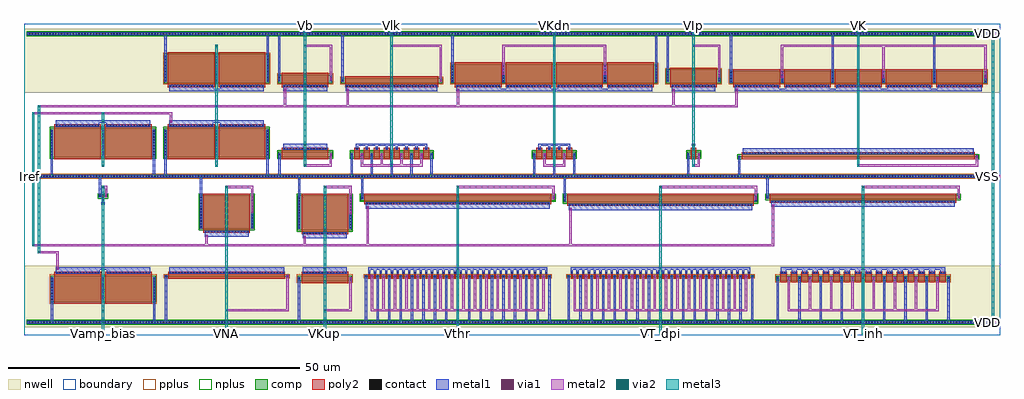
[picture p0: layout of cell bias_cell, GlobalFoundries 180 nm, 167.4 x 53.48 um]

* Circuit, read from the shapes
.subckt bias_cell Iref VDD VIp VK VKdn VKup VNA VSS VT_dpi VT_inh Vamp_bias Vb Vlk Vthr
XM1 Iref Iref VSS VSS nfet_03v3 w=5u l=8u m=2
XM2 Vamp_bias Vamp_bias VSS VSS nfet_03v3 w=0.22u l=0.28u
XM3 n1 Iref VSS VSS nfet_03v3 w=5u l=8u m=2
XM4 VNA Iref VSS VSS nfet_03v3 w=5.755u l=8u
XM5 Vb Vb VSS VSS nfet_03v3 w=1u l=8u
XM6 VKup Iref VSS VSS nfet_03v3 w=6.005u l=8u
XM7 Vlk Vlk VSS VSS nfet_03v3 w=1u l=1u m=8
XM8 Vthr Iref VSS VSS nfet_03v3 w=0.905u l=32u
XM9 VKdn VKdn VSS VSS nfet_03v3 w=1u l=1u m=4
XM10 VT_dpi Iref VSS VSS nfet_03v3 w=1.165u l=32u
XM11 VIp VIp VSS VSS nfet_03v3 w=1u l=1u
XM12 VK VK VSS VSS nfet_03v3 w=0.22u l=40u
XM13 VT_inh Iref VSS VSS nfet_03v3 w=0.625u l=32u
XM14 Vamp_bias n1 VDD VDD pfet_03v3 w=4.57u l=8u m=2
XM15 n1 n1 VDD VDD pfet_03v3 w=5u l=8u m=2
XM16 VNA VNA VDD VDD pfet_03v3 w=0.22u l=20u
XM17 Vb n1 VDD VDD pfet_03v3 w=1.435u l=8u
XM18 VKup VKup VDD VDD pfet_03v3 w=1u l=8u
XM19 Vlk n1 VDD VDD pfet_03v3 w=0.84u l=16u
XM20 Vthr Vthr VDD VDD pfet_03v3 w=0.22u l=0.28u m=32
XM21 VKdn n1 VDD VDD pfet_03v3 w=3.235u l=8u m=4
XM22 VT_dpi VT_dpi VDD VDD pfet_03v3 w=0.22u l=0.28u m=32
XM23 VIp n1 VDD VDD pfet_03v3 w=2.335u l=8u
XM24 VK n1 VDD VDD pfet_03v3 w=2.09u l=8u m=5
XM25 VT_inh VT_inh VDD VDD pfet_03v3 w=0.88u l=1.12u m=16
.ends

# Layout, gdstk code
import gdstk
lib = gdstk.Library(unit=1e-6, precision=1e-09)
def R(c, l, rs):  # rectangles x0, y0, x1, y1
    for r in rs: c.add(gdstk.rectangle(r[:2], r[2:], *l))
def A(c, l, x, y, w, h, nx, ny, dx, dy):  # array of equal rectangles
    R(c, l, [(x+i*dx, y+j*dy, x+i*dx+w, y+j*dy+h) for i in range(nx) for j in range(ny)])
def P(c, l, *ps):  # polygons
    for p in ps: c.add(gdstk.Polygon(p, *l))
boundary = (0, 0)
nwell = (21, 0)
comp = (22, 0)
poly2 = (30, 0)
pplus = (31, 0)
nplus = (32, 0)
contact = (33, 0)
metal1 = (34, 0)
via1 = (35, 0)
metal2 = (36, 0)
via2 = (38, 0)
metal3 = (42, 0)

bias_cell = lib.new_cell('bias_cell')
R(bias_cell, boundary, [(0,0,167.4,53.475)])
R(bias_cell, nwell, [(0,1.4,167.4,11.95), (0,41.595,167.4,52.575)])
A(bias_cell, comp, 59.51, 9.97, 0.38, 0.38, 31, 1, 0.98, 0)
A(bias_cell, comp, 94.27, 9.97, 0.38, 0.38, 31, 1, 0.98, 0)
R(bias_cell, comp, [(0.6,2,166.8,2.5), (4.57,5.7,22.57,10.27), (46.95,9.27,56.25,10.27), (129.06,9.39,158.78,10.27), (46.99,18.02,56.21,24.025), (30.15,18.27,39.37,24.025), (92.55,22.86,125.77,24.025), (57.79,23.12,91.01,24.025), (127.31,23.4,160.53,24.025), (0.6,27.025,166.8,27.525), (4.57,30.525,22.49,35.525), (24.07,30.525,41.99,35.525), (43.61,30.525,52.83,31.525), (56,30.525,70.12,31.525), (87.29,30.525,94.61,31.525), (113.73,30.525,115.95,31.525), (24.03,43.275,42.03,48.275), (43.57,43.275,52.87,44.71), (54.41,43.275,71.71,44.115), (73.25,43.275,108.65,46.51), (110.19,43.275,119.49,45.61), (121.03,43.275,165.13,45.365), (0.6,51.475,166.8,51.975)])
P(bias_cell, comp, [(122.47,30.465),(122.47,30.845),(122.89,30.845),(122.89,30.765),(163.27,30.765),(163.27,30.845),(163.69,30.845),(163.69,30.465),(163.27,30.465),(163.27,30.545),(122.89,30.545),(122.89,30.465)],
  [(12.82,23.705),(12.82,24.085),(13.24,24.085),(13.24,24.005),(13.9,24.005),(13.9,24.085),(14.32,24.085),(14.32,23.705),(13.9,23.705),(13.9,23.785),(13.24,23.785),(13.24,23.705)],
  [(24.11,9.97),(24.11,10.35),(24.57,10.35),(24.57,10.27),(44.95,10.27),(44.95,10.35),(45.41,10.35),(45.41,9.97),(44.95,9.97),(44.95,10.05),(24.57,10.05),(24.57,9.97)],
  [(58.42,9.97),(58.42,10.35),(58.88,10.35),(58.88,10.27),(89.92,10.27),(89.92,10.35),(90.38,10.35),(90.38,9.97),(89.92,9.97),(89.92,10.05),(58.88,10.05),(58.88,9.97)],
  [(93.18,9.97),(93.18,10.35),(93.64,10.35),(93.64,10.27),(124.68,10.27),(124.68,10.35),(125.14,10.35),(125.14,9.97),(124.68,9.97),(124.68,10.05),(93.64,10.05),(93.64,9.97)])
A(bias_cell, poly2, 129.71, 9.09, 1.12, 1.86, 16, 1, 1.82, 0)
A(bias_cell, poly2, 56.61, 30.225, 1, 1.96, 8, 1, 1.7, 0)
A(bias_cell, poly2, 87.9, 30.225, 1, 1.96, 4, 1, 1.7, 0)
A(bias_cell, poly2, 73.9, 42.595, 8, 4.215, 4, 1, 8.7, 0)
A(bias_cell, poly2, 121.68, 42.595, 8, 3.07, 5, 1, 8.7, 0)
R(bias_cell, poly2, [(5.22,5.4,13.22,10.95), (13.92,5.4,21.92,10.95), (47.6,8.97,55.6,10.95), (24.76,9.75,44.76,10.95), (47.6,17.36,55.6,24.325), (30.76,17.61,38.76,17.97), (30.76,17.97,38.76,24.325), (93.16,22.2,125.16,24.325), (58.4,22.46,90.4,24.325), (127.92,22.74,159.92,24.325), (5.18,30.225,13.18,36.185), (13.88,30.225,21.88,36.185), (24.68,30.225,32.68,36.185), (33.38,30.225,41.38,36.185), (44.22,30.225,52.22,32.185), (114.34,30.225,115.34,32.185), (123.08,30.245,163.08,31.425), (24.68,42.595,32.68,48.575), (33.38,42.595,41.38,48.575), (44.22,42.595,52.22,45.01), (55.06,42.595,71.06,44.415), (110.84,42.595,118.84,45.91)])
P(bias_cell, poly2, [(84.55,9.75),(84.55,10.57),(84.5,10.57),(84.5,10.95),(84.88,10.95),(84.88,10.57),(84.83,10.57),(84.83,9.75)],
  [(13.39,23.125),(13.39,23.485),(13.43,23.485),(13.43,24.305),(13.71,24.305),(13.71,23.485),(13.75,23.485),(13.75,23.125)],
  [(59.07,9.75),(59.07,10.57),(59.02,10.57),(59.02,10.95),(59.4,10.95),(59.4,10.57),(59.35,10.57),(59.35,9.75)],
  [(60.05,9.75),(60.05,10.57),(60,10.57),(60,10.95),(60.38,10.95),(60.38,10.57),(60.33,10.57),(60.33,9.75)],
  [(61.03,9.75),(61.03,10.57),(60.98,10.57),(60.98,10.95),(61.36,10.95),(61.36,10.57),(61.31,10.57),(61.31,9.75)],
  [(62.01,9.75),(62.01,10.57),(61.96,10.57),(61.96,10.95),(62.34,10.95),(62.34,10.57),(62.29,10.57),(62.29,9.75)],
  [(62.99,9.75),(62.99,10.57),(62.94,10.57),(62.94,10.95),(63.32,10.95),(63.32,10.57),(63.27,10.57),(63.27,9.75)],
  [(63.97,9.75),(63.97,10.57),(63.92,10.57),(63.92,10.95),(64.3,10.95),(64.3,10.57),(64.25,10.57),(64.25,9.75)],
  [(64.95,9.75),(64.95,10.57),(64.9,10.57),(64.9,10.95),(65.28,10.95),(65.28,10.57),(65.23,10.57),(65.23,9.75)],
  [(65.93,9.75),(65.93,10.57),(65.88,10.57),(65.88,10.95),(66.26,10.95),(66.26,10.57),(66.21,10.57),(66.21,9.75)],
  [(66.91,9.75),(66.91,10.57),(66.86,10.57),(66.86,10.95),(67.24,10.95),(67.24,10.57),(67.19,10.57),(67.19,9.75)],
  [(67.89,9.75),(67.89,10.57),(67.84,10.57),(67.84,10.95),(68.22,10.95),(68.22,10.57),(68.17,10.57),(68.17,9.75)],
  [(68.87,9.75),(68.87,10.57),(68.82,10.57),(68.82,10.95),(69.2,10.95),(69.2,10.57),(69.15,10.57),(69.15,9.75)],
  [(69.85,9.75),(69.85,10.57),(69.8,10.57),(69.8,10.95),(70.18,10.95),(70.18,10.57),(70.13,10.57),(70.13,9.75)],
  [(70.83,9.75),(70.83,10.57),(70.78,10.57),(70.78,10.95),(71.16,10.95),(71.16,10.57),(71.11,10.57),(71.11,9.75)],
  [(71.81,9.75),(71.81,10.57),(71.76,10.57),(71.76,10.95),(72.14,10.95),(72.14,10.57),(72.09,10.57),(72.09,9.75)],
  [(72.79,9.75),(72.79,10.57),(72.74,10.57),(72.74,10.95),(73.12,10.95),(73.12,10.57),(73.07,10.57),(73.07,9.75)],
  [(73.77,9.75),(73.77,10.57),(73.72,10.57),(73.72,10.95),(74.1,10.95),(74.1,10.57),(74.05,10.57),(74.05,9.75)],
  [(74.75,9.75),(74.75,10.57),(74.7,10.57),(74.7,10.95),(75.08,10.95),(75.08,10.57),(75.03,10.57),(75.03,9.75)],
  [(75.73,9.75),(75.73,10.57),(75.68,10.57),(75.68,10.95),(76.06,10.95),(76.06,10.57),(76.01,10.57),(76.01,9.75)],
  [(76.71,9.75),(76.71,10.57),(76.66,10.57),(76.66,10.95),(77.04,10.95),(77.04,10.57),(76.99,10.57),(76.99,9.75)],
  [(77.69,9.75),(77.69,10.57),(77.64,10.57),(77.64,10.95),(78.02,10.95),(78.02,10.57),(77.97,10.57),(77.97,9.75)],
  [(78.67,9.75),(78.67,10.57),(78.62,10.57),(78.62,10.95),(79,10.95),(79,10.57),(78.95,10.57),(78.95,9.75)],
  [(79.65,9.75),(79.65,10.57),(79.6,10.57),(79.6,10.95),(79.98,10.95),(79.98,10.57),(79.93,10.57),(79.93,9.75)],
  [(80.63,9.75),(80.63,10.57),(80.58,10.57),(80.58,10.95),(80.96,10.95),(80.96,10.57),(80.91,10.57),(80.91,9.75)],
  [(81.61,9.75),(81.61,10.57),(81.56,10.57),(81.56,10.95),(81.94,10.95),(81.94,10.57),(81.89,10.57),(81.89,9.75)],
  [(82.59,9.75),(82.59,10.57),(82.54,10.57),(82.54,10.95),(82.92,10.95),(82.92,10.57),(82.87,10.57),(82.87,9.75)],
  [(83.57,9.75),(83.57,10.57),(83.52,10.57),(83.52,10.95),(83.9,10.95),(83.9,10.57),(83.85,10.57),(83.85,9.75)],
  [(85.53,9.75),(85.53,10.57),(85.48,10.57),(85.48,10.95),(85.86,10.95),(85.86,10.57),(85.81,10.57),(85.81,9.75)],
  [(86.51,9.75),(86.51,10.57),(86.46,10.57),(86.46,10.95),(86.84,10.95),(86.84,10.57),(86.79,10.57),(86.79,9.75)],
  [(87.49,9.75),(87.49,10.57),(87.44,10.57),(87.44,10.95),(87.82,10.95),(87.82,10.57),(87.77,10.57),(87.77,9.75)],
  [(88.47,9.75),(88.47,10.57),(88.42,10.57),(88.42,10.95),(88.8,10.95),(88.8,10.57),(88.75,10.57),(88.75,9.75)],
  [(89.45,9.75),(89.45,10.57),(89.4,10.57),(89.4,10.95),(89.78,10.95),(89.78,10.57),(89.73,10.57),(89.73,9.75)],
  [(93.83,9.75),(93.83,10.57),(93.78,10.57),(93.78,10.95),(94.16,10.95),(94.16,10.57),(94.11,10.57),(94.11,9.75)],
  [(94.81,9.75),(94.81,10.57),(94.76,10.57),(94.76,10.95),(95.14,10.95),(95.14,10.57),(95.09,10.57),(95.09,9.75)],
  [(95.79,9.75),(95.79,10.57),(95.74,10.57),(95.74,10.95),(96.12,10.95),(96.12,10.57),(96.07,10.57),(96.07,9.75)],
  [(96.77,9.75),(96.77,10.57),(96.72,10.57),(96.72,10.95),(97.1,10.95),(97.1,10.57),(97.05,10.57),(97.05,9.75)],
  [(97.75,9.75),(97.75,10.57),(97.7,10.57),(97.7,10.95),(98.08,10.95),(98.08,10.57),(98.03,10.57),(98.03,9.75)],
  [(98.73,9.75),(98.73,10.57),(98.68,10.57),(98.68,10.95),(99.06,10.95),(99.06,10.57),(99.01,10.57),(99.01,9.75)],
  [(99.71,9.75),(99.71,10.57),(99.66,10.57),(99.66,10.95),(100.04,10.95),(100.04,10.57),(99.99,10.57),(99.99,9.75)],
  [(100.69,9.75),(100.69,10.57),(100.64,10.57),(100.64,10.95),(101.02,10.95),(101.02,10.57),(100.97,10.57),(100.97,9.75)],
  [(101.67,9.75),(101.67,10.57),(101.62,10.57),(101.62,10.95),(102,10.95),(102,10.57),(101.95,10.57),(101.95,9.75)],
  [(102.65,9.75),(102.65,10.57),(102.6,10.57),(102.6,10.95),(102.98,10.95),(102.98,10.57),(102.93,10.57),(102.93,9.75)],
  [(103.63,9.75),(103.63,10.57),(103.58,10.57),(103.58,10.95),(103.96,10.95),(103.96,10.57),(103.91,10.57),(103.91,9.75)],
  [(104.61,9.75),(104.61,10.57),(104.56,10.57),(104.56,10.95),(104.94,10.95),(104.94,10.57),(104.89,10.57),(104.89,9.75)],
  [(105.59,9.75),(105.59,10.57),(105.54,10.57),(105.54,10.95),(105.92,10.95),(105.92,10.57),(105.87,10.57),(105.87,9.75)],
  [(106.57,9.75),(106.57,10.57),(106.52,10.57),(106.52,10.95),(106.9,10.95),(106.9,10.57),(106.85,10.57),(106.85,9.75)],
  [(107.55,9.75),(107.55,10.57),(107.5,10.57),(107.5,10.95),(107.88,10.95),(107.88,10.57),(107.83,10.57),(107.83,9.75)],
  [(108.53,9.75),(108.53,10.57),(108.48,10.57),(108.48,10.95),(108.86,10.95),(108.86,10.57),(108.81,10.57),(108.81,9.75)],
  [(109.51,9.75),(109.51,10.57),(109.46,10.57),(109.46,10.95),(109.84,10.95),(109.84,10.57),(109.79,10.57),(109.79,9.75)],
  [(110.49,9.75),(110.49,10.57),(110.44,10.57),(110.44,10.95),(110.82,10.95),(110.82,10.57),(110.77,10.57),(110.77,9.75)],
  [(111.47,9.75),(111.47,10.57),(111.42,10.57),(111.42,10.95),(111.8,10.95),(111.8,10.57),(111.75,10.57),(111.75,9.75)],
  [(112.45,9.75),(112.45,10.57),(112.4,10.57),(112.4,10.95),(112.78,10.95),(112.78,10.57),(112.73,10.57),(112.73,9.75)],
  [(113.43,9.75),(113.43,10.57),(113.38,10.57),(113.38,10.95),(113.76,10.95),(113.76,10.57),(113.71,10.57),(113.71,9.75)],
  [(114.41,9.75),(114.41,10.57),(114.36,10.57),(114.36,10.95),(114.74,10.95),(114.74,10.57),(114.69,10.57),(114.69,9.75)],
  [(115.39,9.75),(115.39,10.57),(115.34,10.57),(115.34,10.95),(115.72,10.95),(115.72,10.57),(115.67,10.57),(115.67,9.75)],
  [(116.37,9.75),(116.37,10.57),(116.32,10.57),(116.32,10.95),(116.7,10.95),(116.7,10.57),(116.65,10.57),(116.65,9.75)],
  [(117.35,9.75),(117.35,10.57),(117.3,10.57),(117.3,10.95),(117.68,10.95),(117.68,10.57),(117.63,10.57),(117.63,9.75)],
  [(118.33,9.75),(118.33,10.57),(118.28,10.57),(118.28,10.95),(118.66,10.95),(118.66,10.57),(118.61,10.57),(118.61,9.75)],
  [(119.31,9.75),(119.31,10.57),(119.26,10.57),(119.26,10.95),(119.64,10.95),(119.64,10.57),(119.59,10.57),(119.59,9.75)],
  [(120.29,9.75),(120.29,10.57),(120.24,10.57),(120.24,10.95),(120.62,10.95),(120.62,10.57),(120.57,10.57),(120.57,9.75)],
  [(121.27,9.75),(121.27,10.57),(121.22,10.57),(121.22,10.95),(121.6,10.95),(121.6,10.57),(121.55,10.57),(121.55,9.75)],
  [(122.25,9.75),(122.25,10.57),(122.2,10.57),(122.2,10.95),(122.58,10.95),(122.58,10.57),(122.53,10.57),(122.53,9.75)],
  [(123.23,9.75),(123.23,10.57),(123.18,10.57),(123.18,10.95),(123.56,10.95),(123.56,10.57),(123.51,10.57),(123.51,9.75)],
  [(124.21,9.75),(124.21,10.57),(124.16,10.57),(124.16,10.95),(124.54,10.95),(124.54,10.57),(124.49,10.57),(124.49,9.75)])
A(bias_cell, pplus, 59.35, 9.81, 0.7, 0.7, 31, 1, 0.98, 0)
A(bias_cell, pplus, 94.11, 9.81, 0.7, 0.7, 31, 1, 0.98, 0)
R(bias_cell, pplus, [(4.4,5.46,22.74,10.51), (46.78,9.03,56.42,10.51), (128.89,9.15,158.95,10.51), (23.94,9.81,45.58,10.51), (58.25,9.81,90.55,10.51), (93.01,9.81,125.31,10.51), (0.44,26.865,166.96,27.685), (23.86,43.035,42.2,48.515), (43.4,43.035,53.04,44.95), (54.24,43.035,71.88,44.355), (73.08,43.035,108.82,46.75), (110.02,43.035,119.66,45.85), (120.86,43.035,165.3,45.605)])
R(bias_cell, nplus, [(0.44,1.84,166.96,2.66), (46.82,17.78,56.38,24.265), (29.98,18.03,39.54,24.265), (92.38,22.62,125.94,24.265), (57.62,22.88,91.18,24.265), (127.14,23.16,160.7,24.265), (12.65,23.465,14.49,24.325), (122.3,30.225,163.86,31.085), (4.4,30.285,22.66,35.765), (23.9,30.285,42.16,35.765), (43.44,30.285,53,31.765), (55.83,30.285,70.29,31.765), (87.12,30.285,94.78,31.765), (113.56,30.285,116.12,31.765), (0.44,51.315,166.96,52.135)])
A(bias_cell, contact, 0.84, 2.14, 0.22, 0.22, 332, 2, 0.5, 25.025)
A(bias_cell, contact, 4.69, 6.09, 0.22, 0.22, 3, 8, 8.77, 0.51)
A(bias_cell, contact, 131.07, 9.72, 0.22, 0.22, 15, 1, 1.82, 0)
A(bias_cell, contact, 59.59, 10.05, 0.22, 0.22, 31, 1, 0.98, 0)
A(bias_cell, contact, 94.35, 10.05, 0.22, 0.22, 31, 1, 0.98, 0)
A(bias_cell, contact, 5.54, 10.65, 0.22, 0.22, 15, 1, 0.51, 0)
A(bias_cell, contact, 14.24, 10.65, 0.22, 0.22, 15, 1, 0.51, 0)
A(bias_cell, contact, 24.96, 10.65, 0.22, 0.22, 39, 1, 0.51, 0)
A(bias_cell, contact, 47.92, 10.65, 0.22, 0.22, 15, 2, 0.51, 6.78)
A(bias_cell, contact, 59.1, 10.65, 0.22, 0.22, 32, 1, 0.98, 0)
A(bias_cell, contact, 93.86, 10.65, 0.22, 0.22, 32, 1, 0.98, 0)
A(bias_cell, contact, 31.08, 17.68, 0.22, 0.22, 15, 1, 0.51, 0)
A(bias_cell, contact, 47.09, 18.36, 0.22, 0.22, 1, 11, 0, 0.51)
A(bias_cell, contact, 55.89, 18.36, 0.22, 0.22, 1, 11, 0, 0.51)
A(bias_cell, contact, 30.25, 18.485, 0.22, 0.22, 1, 11, 0, 0.51)
A(bias_cell, contact, 39.05, 18.485, 0.22, 0.22, 1, 11, 0, 0.51)
A(bias_cell, contact, 93.495, 22.27, 0.22, 0.22, 62, 1, 0.51, 0)
A(bias_cell, contact, 58.735, 22.53, 0.22, 0.22, 62, 1, 0.51, 0)
A(bias_cell, contact, 128.255, 22.81, 0.22, 0.22, 62, 1, 0.51, 0)
A(bias_cell, contact, 4.67, 30.875, 0.22, 0.22, 3, 9, 8.75, 0.51)
A(bias_cell, contact, 24.17, 30.875, 0.22, 0.22, 3, 9, 8.75, 0.51)
A(bias_cell, contact, 57.85, 30.915, 0.22, 0.22, 7, 1, 1.7, 0)
A(bias_cell, contact, 89.14, 30.915, 0.22, 0.22, 3, 1, 1.7, 0)
A(bias_cell, contact, 123.335, 31.135, 0.22, 0.22, 78, 1, 0.51, 0)
A(bias_cell, contact, 44.54, 31.895, 0.22, 0.22, 15, 2, 0.51, 10.78)
A(bias_cell, contact, 57, 31.895, 0.22, 0.22, 8, 1, 1.7, 0)
A(bias_cell, contact, 88.29, 31.895, 0.22, 0.22, 4, 1, 1.7, 0)
A(bias_cell, contact, 5.5, 35.895, 0.22, 0.22, 15, 1, 0.51, 0)
A(bias_cell, contact, 14.2, 35.895, 0.22, 0.22, 15, 1, 0.51, 0)
A(bias_cell, contact, 25, 35.895, 0.22, 0.22, 15, 2, 0.51, 6.78)
A(bias_cell, contact, 33.7, 35.895, 0.22, 0.22, 15, 2, 0.51, 6.78)
A(bias_cell, contact, 55.3, 42.675, 0.22, 0.22, 31, 1, 0.51, 0)
A(bias_cell, contact, 74.22, 42.675, 0.22, 0.22, 15, 1, 0.51, 0)
A(bias_cell, contact, 82.92, 42.675, 0.22, 0.22, 15, 1, 0.51, 0)
A(bias_cell, contact, 91.62, 42.675, 0.22, 0.22, 15, 1, 0.51, 0)
A(bias_cell, contact, 100.32, 42.675, 0.22, 0.22, 15, 1, 0.51, 0)
A(bias_cell, contact, 111.16, 42.675, 0.22, 0.22, 15, 1, 0.51, 0)
A(bias_cell, contact, 122, 42.675, 0.22, 0.22, 15, 1, 0.51, 0)
A(bias_cell, contact, 130.7, 42.675, 0.22, 0.22, 15, 1, 0.51, 0)
A(bias_cell, contact, 139.4, 42.675, 0.22, 0.22, 15, 1, 0.51, 0)
A(bias_cell, contact, 148.1, 42.675, 0.22, 0.22, 15, 1, 0.51, 0)
A(bias_cell, contact, 156.8, 42.675, 0.22, 0.22, 15, 1, 0.51, 0)
A(bias_cell, contact, 121.15, 43.445, 0.22, 0.22, 1, 4, 0, 0.51)
A(bias_cell, contact, 129.92, 43.445, 0.22, 0.22, 4, 4, 8.7, 0.51)
A(bias_cell, contact, 164.79, 43.445, 0.22, 0.22, 1, 4, 0, 0.51)
A(bias_cell, contact, 82.14, 43.505, 0.22, 0.22, 3, 6, 8.7, 0.51)
A(bias_cell, contact, 73.37, 43.51, 0.22, 0.22, 1, 6, 0, 0.51)
A(bias_cell, contact, 108.31, 43.51, 0.22, 0.22, 1, 6, 0, 0.51)
A(bias_cell, contact, 110.31, 43.57, 0.22, 0.22, 1, 4, 0, 0.51)
A(bias_cell, contact, 119.15, 43.57, 0.22, 0.22, 1, 4, 0, 0.51)
A(bias_cell, contact, 24.15, 43.625, 0.22, 0.22, 3, 9, 8.77, 0.51)
A(bias_cell, contact, 0.84, 51.615, 0.22, 0.22, 332, 1, 0.5, 0)
R(bias_cell, contact, [(47.07,9.66,47.29,9.88), (55.91,9.66,56.13,9.88), (129.18,9.72,129.4,9.94), (158.44,9.72,158.66,9.94), (24.23,10.05,24.45,10.27), (45.07,10.05,45.29,10.27), (58.54,10.05,58.76,10.27), (90.04,10.05,90.26,10.27), (93.3,10.05,93.52,10.27), (124.8,10.05,125.02,10.27), (129.905,10.65,130.125,10.87), (130.415,10.65,130.635,10.87), (131.725,10.65,131.945,10.87), (132.235,10.65,132.455,10.87), (133.545,10.65,133.765,10.87), (134.055,10.65,134.275,10.87), (135.365,10.65,135.585,10.87), (135.875,10.65,136.095,10.87), (137.185,10.65,137.405,10.87), (137.695,10.65,137.915,10.87), (139.005,10.65,139.225,10.87), (139.515,10.65,139.735,10.87), (140.825,10.65,141.045,10.87), (141.335,10.65,141.555,10.87), (142.645,10.65,142.865,10.87), (143.155,10.65,143.375,10.87), (144.465,10.65,144.685,10.87), (144.975,10.65,145.195,10.87), (146.285,10.65,146.505,10.87), (146.795,10.65,147.015,10.87), (148.105,10.65,148.325,10.87), (148.615,10.65,148.835,10.87), (149.925,10.65,150.145,10.87), (150.435,10.65,150.655,10.87), (151.745,10.65,151.965,10.87), (152.255,10.65,152.475,10.87), (153.565,10.65,153.785,10.87), (154.075,10.65,154.295,10.87), (155.385,10.65,155.605,10.87), (155.895,10.65,156.115,10.87), (157.205,10.65,157.425,10.87), (157.715,10.65,157.935,10.87), (92.65,23.075,92.87,23.295), (125.45,23.075,125.67,23.295), (13.46,23.195,13.68,23.415), (57.89,23.46,58.11,23.68), (90.69,23.46,90.91,23.68), (92.65,23.585,92.87,23.805), (125.45,23.585,125.67,23.805), (127.41,23.6,127.63,23.82), (160.21,23.6,160.43,23.82), (12.92,23.785,13.14,24.005), (14,23.785,14.22,24.005), (122.57,30.545,122.79,30.765), (163.37,30.545,163.59,30.765), (43.71,30.915,43.93,31.135), (52.51,30.915,52.73,31.135), (56.1,30.915,56.32,31.135), (69.8,30.915,70.02,31.135), (87.39,30.915,87.61,31.135), (94.29,30.915,94.51,31.135), (113.83,30.915,114.05,31.135), (115.63,30.915,115.85,31.135), (114.73,31.895,114.95,32.115), (54.53,43.585,54.75,43.805), (71.37,43.585,71.59,43.805), (43.69,43.63,43.91,43.85), (52.53,43.63,52.75,43.85), (43.69,44.14,43.91,44.36), (52.53,44.14,52.75,44.36)])
A(bias_cell, metal1, 60.49, 2.49, 0.38, 7.86, 15, 1, 1.96, 0)
A(bias_cell, metal1, 95.25, 2.49, 0.38, 7.86, 15, 1, 1.96, 0)
A(bias_cell, metal1, 132.81, 2.49, 0.38, 7.53, 7, 1, 3.64, 0)
A(bias_cell, metal1, 4.61, 6.01, 0.38, 3.95, 3, 1, 8.77, 0)
A(bias_cell, metal1, 130.99, 9.64, 0.38, 0.38, 15, 1, 1.82, 0)
A(bias_cell, metal1, 59.51, 9.97, 0.38, 0.38, 31, 1, 0.98, 0)
A(bias_cell, metal1, 94.27, 9.97, 0.38, 0.38, 31, 1, 0.98, 0)
A(bias_cell, metal1, 59.02, 10.57, 0.38, 0.38, 32, 1, 0.98, 0)
A(bias_cell, metal1, 59.02, 10.57, 0.38, 1.08, 32, 1, 0.98, 0)
A(bias_cell, metal1, 93.78, 10.57, 0.38, 0.38, 32, 1, 0.98, 0)
A(bias_cell, metal1, 93.78, 10.57, 0.38, 1.08, 32, 1, 0.98, 0)
A(bias_cell, metal1, 129.825, 10.57, 0.89, 0.38, 16, 1, 1.82, 0)
A(bias_cell, metal1, 129.825, 10.57, 0.89, 1.08, 16, 1, 1.82, 0)
A(bias_cell, metal1, 74.2, 11.25, 0.4, 0.4, 3, 1, 34.76, 0)
A(bias_cell, metal1, 59.47, 27.515, 0.38, 3.7, 3, 1, 3.4, 0)
A(bias_cell, metal1, 87.31, 27.515, 0.38, 3.7, 3, 1, 3.45, 0)
A(bias_cell, metal1, 4.59, 30.795, 0.38, 4.46, 3, 1, 8.75, 0)
A(bias_cell, metal1, 24.09, 30.795, 0.38, 4.46, 3, 1, 8.75, 0)
A(bias_cell, metal1, 57.77, 30.835, 0.38, 0.38, 7, 1, 1.7, 0)
A(bias_cell, metal1, 89.06, 30.835, 0.38, 0.38, 3, 1, 1.7, 0)
A(bias_cell, metal1, 56.92, 31.815, 0.38, 0.38, 8, 1, 1.7, 0)
A(bias_cell, metal1, 56.92, 31.815, 0.38, 1.08, 8, 1, 1.7, 0)
A(bias_cell, metal1, 88.21, 31.815, 0.38, 0.38, 4, 1, 1.7, 0)
A(bias_cell, metal1, 88.21, 31.815, 0.38, 1.08, 4, 1, 1.7, 0)
A(bias_cell, metal1, 74.14, 41.895, 7.52, 1.08, 4, 1, 8.7, 0)
A(bias_cell, metal1, 121.92, 41.895, 7.52, 1.08, 5, 1, 8.7, 0)
A(bias_cell, metal1, 74.14, 42.595, 7.52, 0.38, 4, 1, 8.7, 0)
A(bias_cell, metal1, 121.92, 42.595, 7.52, 0.38, 5, 1, 8.7, 0)
A(bias_cell, metal1, 129.84, 43.365, 0.38, 1.91, 4, 1, 8.7, 0)
A(bias_cell, metal1, 82.06, 43.425, 0.38, 2.93, 3, 1, 8.7, 0)
A(bias_cell, metal1, 24.07, 43.545, 0.38, 4.46, 3, 1, 8.77, 0)
R(bias_cell, metal1, [(0.6,2,166.8,2.5), (166,2.05,166.4,2.45), (4.61,2.49,4.99,9.96), (22.15,2.49,22.53,9.96), (24.15,2.49,24.53,10.35), (46.99,2.49,47.37,9.96), (58.46,2.49,58.84,10.35), (89.96,2.49,90.34,10.35), (93.22,2.49,93.6,10.35), (124.72,2.49,125.1,10.35), (129.1,2.49,129.48,10.02), (158.36,2.49,158.74,10.02), (46.99,9.58,47.37,9.96), (55.83,9.58,56.21,9.96), (129.1,9.64,129.48,10.02), (158.36,9.64,158.74,10.02), (24.15,9.97,24.53,10.35), (44.99,9.97,45.37,10.35), (58.46,9.97,58.84,10.35), (89.96,9.97,90.34,10.35), (93.22,9.97,93.6,10.35), (124.72,9.97,125.1,10.35), (5.46,10.57,12.98,10.95), (5.46,10.57,12.98,11.65), (14.16,10.57,21.68,10.95), (14.16,10.57,21.68,11.65), (24.88,10.57,44.64,10.95), (24.88,10.57,44.64,11.65), (47.84,10.57,55.36,10.95), (47.84,10.57,55.36,11.65), (5.46,11.25,21.68,11.65), (5.56,11.25,5.96,11.65), (24.88,11.25,44.64,11.65), (34.56,11.25,34.96,11.65), (47.84,11.25,55.36,11.65), (51.4,11.25,51.8,11.65), (59.02,11.25,89.78,11.65), (93.78,11.25,124.54,11.65), (129.825,11.25,158.015,11.65), (47.84,16.65,55.36,17.73), (47.84,16.65,55.36,17.05), (47.94,16.65,48.34,17.05), (31,16.9,38.52,17.98), (31,16.9,38.52,17.3), (31.1,16.9,31.5,17.3), (47.84,17.35,55.36,17.73), (31,17.6,38.52,17.98), (47.01,18.28,47.39,27.035), (47.01,18.28,47.39,23.76), (55.81,18.28,56.19,23.76), (30.17,18.405,30.55,27.035), (30.17,18.405,30.55,23.885), (38.97,18.405,39.35,23.885), (93.415,21.49,124.905,21.89), (93.415,21.49,124.905,22.57), (93.515,21.49,93.915,21.89), (58.655,21.75,90.145,22.15), (58.655,21.75,90.145,22.83), (58.755,21.75,59.155,22.15), (128.175,22.03,159.665,22.43), (128.175,22.03,159.665,23.11), (128.275,22.03,128.675,22.43), (93.415,22.19,124.905,22.57), (13.27,22.415,13.87,22.815), (13.37,22.415,13.77,22.815), (13.38,22.415,13.76,23.495), (58.655,22.45,90.145,22.83), (128.175,22.73,159.665,23.11), (92.57,22.995,92.95,27.035), (92.57,22.995,92.95,23.885), (125.37,22.995,125.75,23.885), (13.38,23.115,13.76,23.495), (57.81,23.38,58.19,27.035), (57.81,23.38,58.19,23.765), (90.61,23.38,90.99,23.765), (127.33,23.52,127.71,27.035), (127.33,23.52,127.71,23.905), (160.13,23.52,160.51,23.905), (12.84,23.705,13.22,24.085), (12.84,23.705,13.22,27.035), (13.92,23.705,14.3,24.085), (0.6,27.025,166.8,27.525), (164.8,27.025,165.8,27.525), (165,27.075,165.4,27.475), (4.59,27.515,4.97,35.255), (22.09,27.515,22.47,35.255), (24.09,27.515,24.47,35.255), (41.59,27.515,41.97,35.255), (43.63,27.515,44.01,31.215), (56.02,27.515,56.4,31.215), (69.72,27.515,70.1,31.215), (113.75,27.515,114.13,31.215), (122.49,27.515,122.87,30.845), (122.49,30.465,122.87,30.845), (163.29,30.465,163.67,30.845), (43.63,30.835,44.01,31.215), (52.43,30.835,52.81,31.215), (56.02,30.835,56.4,31.215), (69.72,30.835,70.1,31.215), (87.31,30.835,87.69,31.215), (94.21,30.835,94.59,31.215), (113.75,30.835,114.13,31.215), (115.55,30.835,115.93,31.215), (123.255,31.055,162.905,31.435), (123.255,31.055,162.905,32.135), (123.255,31.735,162.905,32.135), (142.88,31.735,143.28,32.135), (44.46,31.815,51.98,32.195), (44.46,31.815,51.98,32.895), (114.65,31.815,115.03,32.195), (114.65,31.815,115.03,32.895), (44.46,32.495,51.98,32.895), (48.02,32.495,48.42,32.895), (56.92,32.495,69.2,32.895), (62.86,32.495,63.26,32.895), (88.21,32.495,93.69,32.895), (90.75,32.495,91.15,32.895), (114.54,32.495,115.14,32.895), (114.64,32.495,115.04,32.895), (5.42,35.815,12.94,36.195), (5.42,35.815,12.94,36.895), (14.12,35.815,21.64,36.195), (14.12,35.815,21.64,36.895), (24.92,35.815,32.44,36.195), (24.92,35.815,32.44,36.895), (33.62,35.815,41.14,36.195), (33.62,35.815,41.14,36.895), (5.42,36.495,21.64,36.895), (13.33,36.495,13.73,36.895), (24.92,36.495,41.14,36.895), (25.02,36.495,25.42,36.895), (24.92,41.895,32.44,42.975), (24.92,41.895,41.14,42.295), (32.83,41.895,33.23,42.295), (33.62,41.895,41.14,42.975), (44.46,41.895,51.98,42.975), (44.46,41.895,51.98,42.295), (44.56,41.895,44.96,42.295), (55.22,41.895,70.9,42.295), (55.22,41.895,70.9,42.975), (55.32,41.895,55.72,42.295), (74.14,41.895,107.76,42.295), (74.24,41.895,74.64,42.295), (111.08,41.895,118.6,42.975), (111.08,41.895,118.6,42.295), (111.18,41.895,111.58,42.295), (121.92,41.895,164.24,42.295), (122.02,41.895,122.42,42.295), (24.92,42.595,32.44,42.975), (33.62,42.595,41.14,42.975), (44.46,42.595,51.98,42.975), (55.22,42.595,70.9,42.975), (111.08,42.595,118.6,42.975), (121.07,43.365,121.45,45.275), (121.07,43.365,121.45,51.485), (138.54,43.365,138.92,51.485), (155.94,43.365,156.32,51.485), (164.71,43.365,165.09,45.275), (90.76,43.425,91.14,51.485), (73.29,43.43,73.67,46.36), (73.29,43.43,73.67,51.485), (108.23,43.43,108.61,46.36), (108.23,43.43,108.61,51.485), (110.23,43.49,110.61,45.4), (110.23,43.49,110.61,51.485), (119.07,43.49,119.45,45.4), (54.45,43.505,54.83,43.885), (54.45,43.505,54.83,51.485), (71.29,43.505,71.67,43.885), (24.07,43.545,24.45,51.485), (41.61,43.545,41.99,51.485), (43.61,43.55,43.99,44.44), (43.61,43.55,43.99,51.485), (52.45,43.55,52.83,44.44), (0.6,51.475,166.8,51.975), (164.8,51.475,165.8,51.975), (166,51.525,166.4,51.925)])
A(bias_cell, via1, 131.05, 9.7, 0.26, 0.26, 8, 1, 3.64, 0)
A(bias_cell, via1, 59.57, 10.03, 0.26, 0.26, 16, 1, 1.96, 0)
A(bias_cell, via1, 94.33, 10.03, 0.26, 0.26, 16, 1, 1.96, 0)
A(bias_cell, via1, 74.27, 11.32, 0.26, 0.26, 3, 1, 34.76, 0)
A(bias_cell, via1, 57.83, 30.895, 0.26, 0.26, 4, 1, 3.4, 0)
R(bias_cell, via1, [(166.07,2.12,166.33,2.38), (13.44,7.855,13.7,8.115), (55.89,9.64,56.15,9.9), (45.05,10.03,45.31,10.29), (5.63,11.32,5.89,11.58), (34.63,11.32,34.89,11.58), (51.47,11.32,51.73,11.58), (48.01,16.72,48.27,16.98), (31.17,16.97,31.43,17.23), (55.87,20.89,56.13,21.15), (39.03,21.015,39.29,21.275), (93.585,21.56,93.845,21.82), (58.825,21.82,59.085,22.08), (128.345,22.1,128.605,22.36), (13.44,22.485,13.7,22.745), (125.43,23.31,125.69,23.57), (90.67,23.445,90.93,23.705), (160.19,23.585,160.45,23.845), (13.98,23.765,14.24,24.025), (165.07,27.145,165.33,27.405), (163.35,30.525,163.61,30.785), (52.49,30.895,52.75,31.155), (89.12,30.895,89.38,31.155), (92.52,30.895,92.78,31.155), (115.61,30.895,115.87,31.155), (142.95,31.805,143.21,32.065), (48.09,32.565,48.35,32.825), (62.93,32.565,63.19,32.825), (90.82,32.565,91.08,32.825), (114.71,32.565,114.97,32.825), (13.4,32.895,13.66,33.155), (32.9,32.895,33.16,33.155), (13.4,36.565,13.66,36.825), (25.09,36.565,25.35,36.825), (32.9,41.965,33.16,42.225), (44.63,41.965,44.89,42.225), (55.39,41.965,55.65,42.225), (74.31,41.965,74.57,42.225), (111.25,41.965,111.51,42.225), (122.09,41.965,122.35,42.225), (71.35,43.565,71.61,43.825), (52.51,43.865,52.77,44.125), (129.9,44.19,130.16,44.45), (147.3,44.19,147.56,44.45), (164.77,44.19,165.03,44.45), (119.13,44.315,119.39,44.575), (82.12,44.76,82.38,45.02), (99.52,44.76,99.78,45.02), (32.9,45.645,33.16,45.905), (166.07,51.595,166.33,51.855)])
A(bias_cell, metal2, 74.2, 4.1, 0.4, 0.4, 3, 2, 34.76, 7.15)
A(bias_cell, metal2, 59.5, 4.3, 0.4, 5.86, 16, 1, 1.96, 0)
A(bias_cell, metal2, 94.26, 4.3, 0.4, 5.86, 16, 1, 1.96, 0)
A(bias_cell, metal2, 130.98, 4.3, 0.4, 5.53, 8, 1, 3.64, 0)
A(bias_cell, metal2, 130.98, 9.63, 0.4, 0.4, 8, 1, 3.64, 0)
A(bias_cell, metal2, 59.5, 9.96, 0.4, 0.4, 16, 1, 1.96, 0)
A(bias_cell, metal2, 94.26, 9.96, 0.4, 0.4, 16, 1, 1.96, 0)
A(bias_cell, metal2, 74.2, 25.225, 16.8, 0.4, 3, 1, 34.76, 0)
A(bias_cell, metal2, 74.2, 25.225, 0.4, 0.4, 3, 1, 34.76, 0)
A(bias_cell, metal2, 57.76, 29.125, 0.4, 1.9, 4, 1, 3.4, 0)
A(bias_cell, metal2, 57.76, 30.825, 0.4, 0.4, 4, 1, 3.4, 0)
R(bias_cell, metal2, [(166,2.05,166.4,2.45), (166,2.05,167.4,2.45), (13.37,4.1,13.77,4.5), (13.37,4.1,13.77,4.5), (34.56,4.1,34.96,4.5), (34.56,4.1,45.38,4.5), (51.4,4.1,51.8,4.5), (51.4,4.1,56.22,4.5), (59.5,4.1,89.3,4.5), (94.26,4.1,124.06,4.5), (130.98,4.1,156.86,4.5), (13.37,4.3,13.77,7.985), (44.98,4.3,45.38,10.16), (55.82,4.3,56.22,9.77), (13.37,7.785,13.77,8.185), (55.82,9.57,56.22,9.97), (44.98,9.96,45.38,10.36), (5.56,11.25,5.96,11.65), (34.56,11.25,34.96,11.65), (51.4,11.25,51.8,11.65), (5.56,11.45,5.96,14.25), (2.4,14.05,2.8,14.45), (2.4,14.05,2.5,14.45), (2.4,14.05,5.96,14.45), (1.4,15.25,1.8,15.65), (1.4,15.25,2.5,15.65), (2.4,15.25,128.675,15.65), (31.1,15.45,31.5,17.1), (47.94,15.45,48.34,16.85), (58.755,15.45,59.155,21.95), (93.515,15.45,93.915,21.69), (128.275,15.45,128.675,22.23), (47.94,16.65,48.34,17.05), (31.1,16.9,31.5,17.3), (55.8,20.82,56.2,21.22), (38.96,20.945,39.36,21.345), (55.8,21.02,56.2,25.425), (38.96,21.145,39.36,25.425), (93.515,21.49,93.915,21.89), (58.755,21.75,59.155,22.15), (128.275,22.03,128.675,22.43), (13.37,22.415,13.77,22.815), (125.36,23.24,125.76,23.64), (90.6,23.375,91,23.775), (125.36,23.44,125.76,25.425), (160.12,23.515,160.52,23.915), (90.6,23.575,91,25.425), (13.91,23.695,14.31,24.095), (160.12,23.715,160.52,25.425), (13.91,23.895,14.31,25.425), (13.37,25.225,13.77,25.625), (13.37,25.225,14.31,25.625), (34.56,25.225,34.96,25.625), (34.56,25.225,39.36,25.625), (51.4,25.225,51.8,25.625), (51.4,25.225,56.2,25.625), (0,27.075,1.8,27.475), (1.4,27.075,1.8,27.475), (165,27.075,165.4,27.475), (165,27.075,167.4,27.475), (13.33,28.925,13.73,29.325), (13.33,28.925,13.73,29.325), (32.83,28.925,33.23,29.325), (32.83,28.925,33.23,29.325), (48.02,28.925,48.42,29.325), (48.02,28.925,52.82,29.325), (57.76,28.925,68.36,29.325), (62.86,28.925,63.26,29.325), (89.05,28.925,92.85,29.325), (90.75,28.925,91.15,29.325), (114.64,28.925,115.04,29.325), (114.64,28.925,115.94,29.325), (142.88,28.925,143.28,29.325), (142.88,28.925,163.68,29.325), (13.33,29.125,13.73,33.025), (32.83,29.125,33.23,33.025), (52.42,29.125,52.82,31.025), (89.05,29.125,89.45,31.025), (92.45,29.125,92.85,31.025), (115.54,29.125,115.94,31.025), (163.28,29.125,163.68,30.655), (163.28,30.455,163.68,30.855), (52.42,30.825,52.82,31.225), (89.05,30.825,89.45,31.225), (92.45,30.825,92.85,31.225), (115.54,30.825,115.94,31.225), (142.88,31.735,143.28,32.135), (48.02,32.495,48.42,32.895), (62.86,32.495,63.26,32.895), (90.75,32.495,91.15,32.895), (114.64,32.495,115.04,32.895), (13.33,32.825,13.73,33.225), (32.83,32.825,33.23,33.225), (13.33,36.495,13.73,36.895), (25.02,36.495,25.42,36.895), (25.02,36.695,25.42,38.095), (1.4,37.895,1.8,38.295), (1.4,37.895,2.5,38.295), (2.4,37.895,25.42,38.295), (13.33,37.895,13.73,38.295), (2.4,39.095,122.42,39.495), (2.4,39.095,2.8,39.495), (2.4,39.095,2.5,39.495), (32.83,39.095,33.23,39.495), (44.56,39.295,44.96,42.095), (55.32,39.295,55.72,42.095), (74.24,39.295,74.64,42.095), (111.18,39.295,111.58,42.095), (122.02,39.295,122.42,42.095), (32.83,41.895,33.23,42.295), (44.56,41.895,44.96,42.295), (55.32,41.895,55.72,42.295), (74.24,41.895,74.64,42.295), (111.18,41.895,111.58,42.295), (122.02,41.895,122.42,42.295), (71.28,43.495,71.68,43.895), (71.28,43.695,71.68,49.675), (52.44,43.795,52.84,44.195), (52.44,43.995,52.84,49.675), (129.83,44.12,130.23,44.52), (147.23,44.12,147.63,44.52), (164.7,44.12,165.1,44.52), (119.06,44.245,119.46,44.645), (129.83,44.32,130.23,49.675), (147.23,44.32,147.63,49.675), (164.7,44.32,165.1,49.675), (119.06,44.445,119.46,49.675), (82.05,44.69,82.45,45.09), (99.45,44.69,99.85,45.09), (82.05,44.89,82.45,49.675), (99.45,44.89,99.85,49.675), (32.83,45.575,33.23,45.975), (32.83,45.775,33.23,49.675), (32.83,49.475,33.23,49.875), (32.83,49.475,33.23,49.875), (48.02,49.475,48.42,49.875), (48.02,49.475,52.84,49.875), (62.86,49.475,63.26,49.875), (62.86,49.475,71.68,49.875), (82.05,49.475,99.85,49.875), (90.75,49.475,91.15,49.875), (114.64,49.475,115.04,49.875), (114.64,49.475,119.46,49.875), (129.83,49.475,165.1,49.875), (142.88,49.475,143.28,49.875), (166,51.525,166.4,51.925), (166,51.525,167.4,51.925)])
A(bias_cell, via2, 74.27, 4.17, 0.26, 0.26, 3, 2, 34.76, 7.15)
A(bias_cell, via2, 74.27, 25.295, 0.26, 0.26, 3, 1, 34.76, 0)
R(bias_cell, via2, [(166.07,2.12,166.33,2.38), (13.44,4.17,13.7,4.43), (34.63,4.17,34.89,4.43), (51.47,4.17,51.73,4.43), (34.63,11.32,34.89,11.58), (51.47,11.32,51.73,11.58), (2.47,14.12,2.73,14.38), (1.47,15.32,1.73,15.58), (13.44,22.485,13.7,22.745), (13.44,25.295,13.7,25.555), (34.63,25.295,34.89,25.555), (51.47,25.295,51.73,25.555), (1.47,27.145,1.73,27.405), (13.4,28.995,13.66,29.255), (32.9,28.995,33.16,29.255), (48.09,28.995,48.35,29.255), (62.93,28.995,63.19,29.255), (90.82,28.995,91.08,29.255), (114.71,28.995,114.97,29.255), (142.95,28.995,143.21,29.255), (142.95,31.805,143.21,32.065), (48.09,32.565,48.35,32.825), (62.93,32.565,63.19,32.825), (90.82,32.565,91.08,32.825), (114.71,32.565,114.97,32.825), (13.4,36.565,13.66,36.825), (1.47,37.965,1.73,38.225), (13.4,37.965,13.66,38.225), (2.47,39.165,2.73,39.425), (32.9,39.165,33.16,39.425), (32.9,41.965,33.16,42.225), (32.9,49.545,33.16,49.805), (48.09,49.545,48.35,49.805), (62.93,49.545,63.19,49.805), (90.82,49.545,91.08,49.805), (114.71,49.545,114.97,49.805), (142.95,49.545,143.21,49.805), (166.07,51.595,166.33,51.855)])
A(bias_cell, metal3, 74.2, 0, 0.4, 0.6, 3, 1, 34.76, 0)
A(bias_cell, metal3, 74.2, 0.5, 0.4, 25.125, 3, 1, 34.76, 0)
A(bias_cell, metal3, 74.2, 4.1, 0.4, 0.4, 3, 2, 34.76, 7.15)
A(bias_cell, metal3, 74.2, 25.225, 0.4, 0.4, 3, 1, 34.76, 0)
R(bias_cell, metal3, [(13.37,0,13.77,0.6), (34.56,0,34.96,0.6), (51.4,0,51.8,0.6), (13.37,0.5,13.77,25.625), (34.56,0.5,34.96,25.625), (51.4,0.5,51.8,25.625), (166,2.05,166.4,2.45), (166,2.05,166.4,51.925), (13.37,4.1,13.77,4.5), (34.56,4.1,34.96,4.5), (51.4,4.1,51.8,4.5), (34.56,11.25,34.96,11.65), (51.4,11.25,51.8,11.65), (2.4,14.05,2.8,14.45), (2.4,14.05,2.8,39.495), (1.4,15.25,1.8,15.65), (1.4,15.25,1.8,38.295), (13.37,22.415,13.77,22.815), (13.37,25.225,13.77,25.625), (34.56,25.225,34.96,25.625), (51.4,25.225,51.8,25.625), (1.4,27.075,1.8,27.475), (13.33,28.925,13.73,29.325), (13.33,28.925,13.73,38.295), (32.83,28.925,33.23,29.325), (32.83,28.925,33.23,49.875), (48.02,28.925,48.42,29.325), (48.02,28.925,48.42,53.475), (62.86,28.925,63.26,29.325), (62.86,28.925,63.26,53.475), (90.75,28.925,91.15,29.325), (90.75,28.925,91.15,53.475), (114.64,28.925,115.04,29.325), (114.64,28.925,115.04,53.475), (142.88,28.925,143.28,29.325), (142.88,28.925,143.28,53.475), (142.88,31.735,143.28,32.135), (48.02,32.495,48.42,32.895), (62.86,32.495,63.26,32.895), (90.75,32.495,91.15,32.895), (114.64,32.495,115.04,32.895), (13.33,36.495,13.73,36.895), (1.4,37.895,1.8,38.295), (13.33,37.895,13.73,38.295), (2.4,39.095,2.8,39.495), (32.83,39.095,33.23,39.495), (32.83,41.895,33.23,42.295), (32.83,49.475,33.23,49.875), (48.02,49.475,48.42,49.875), (62.86,49.475,63.26,49.875), (90.75,49.475,91.15,49.875), (114.64,49.475,115.04,49.875), (142.88,49.475,143.28,49.875), (166,51.525,166.4,51.925), (48.02,52.875,48.42,53.475), (62.86,52.875,63.26,53.475), (90.75,52.875,91.15,53.475), (114.64,52.875,115.04,53.475), (142.88,52.875,143.28,53.475)])
bias_cell.add(gdstk.Label('VSS', (165.3,27.275), layer=34, texttype=10))
bias_cell.add(gdstk.Label('VDD', (165.3,51.725), layer=34, texttype=10))
bias_cell.add(gdstk.Label('VDD', (165.3,2.25), layer=34, texttype=10))
bias_cell.add(gdstk.Label('Vb', (48.22,53.175), layer=42, texttype=10))
bias_cell.add(gdstk.Label('Vlk', (63.06,53.175), layer=42, texttype=10))
bias_cell.add(gdstk.Label('VKdn', (90.95,53.175), layer=42, texttype=10))
bias_cell.add(gdstk.Label('VIp', (114.84,53.175), layer=42, texttype=10))
bias_cell.add(gdstk.Label('VK', (143.08,53.175), layer=42, texttype=10))
bias_cell.add(gdstk.Label('Vamp_bias', (13.57,0.3), layer=42, texttype=10))
bias_cell.add(gdstk.Label('VNA', (34.76,0.3), layer=42, texttype=10))
bias_cell.add(gdstk.Label('VKup', (51.6,0.3), layer=42, texttype=10))
bias_cell.add(gdstk.Label('Vthr', (74.4,0.3), layer=42, texttype=10))
bias_cell.add(gdstk.Label('VT_dpi', (109.16,0.3), layer=42, texttype=10))
bias_cell.add(gdstk.Label('VT_inh', (143.92,0.3), layer=42, texttype=10))
bias_cell.add(gdstk.Label('Iref', (0.9,27.275), layer=36, texttype=10))
bias_cell.add(gdstk.Label('VDD', (166.7,51.725), layer=36, texttype=10))
bias_cell.add(gdstk.Label('VDD', (166.7,2.25), layer=36, texttype=10))
bias_cell.add(gdstk.Label('VSS', (166.2,27.275), layer=36, texttype=10))

lib.write_gds('bias_cell.gds')
